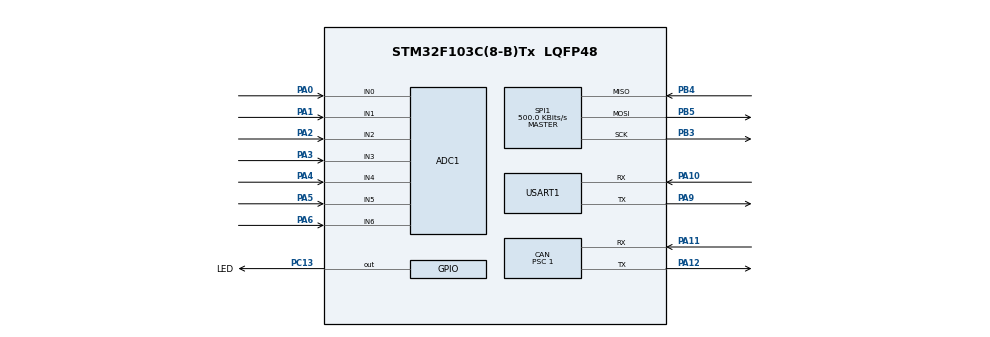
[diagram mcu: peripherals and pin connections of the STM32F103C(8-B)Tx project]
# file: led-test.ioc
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ADC1.Channel-2\#ChannelRegularConversion=ADC_CHANNEL_0
ADC1.Channel-3\#ChannelRegularConversion=ADC_CHANNEL_1
ADC1.Channel-4\#ChannelRegularConversion=ADC_CHANNEL_2
ADC1.Channel-5\#ChannelRegularConversion=ADC_CHANNEL_3
ADC1.Channel-6\#ChannelRegularConversion=ADC_CHANNEL_4
ADC1.Channel-7\#ChannelRegularConversion=ADC_CHANNEL_5
ADC1.Channel-8\#ChannelRegularConversion=ADC_CHANNEL_6
ADC1.NbrOfConversion=7
ADC1.NbrOfConversionFlag=1
ADC1.Rank-2\#ChannelRegularConversion=1
ADC1.Rank-3\#ChannelRegularConversion=2
ADC1.Rank-4\#ChannelRegularConversion=3
ADC1.Rank-5\#ChannelRegularConversion=4
ADC1.Rank-6\#ChannelRegularConversion=5
ADC1.Rank-7\#ChannelRegularConversion=6
ADC1.Rank-8\#ChannelRegularConversion=7
ADC1.SamplingTime-2\#ChannelRegularConversion=ADC_SAMPLETIME_55CYCLES_5
ADC1.SamplingTime-3\#ChannelRegularConversion=ADC_SAMPLETIME_55CYCLES_5
ADC1.SamplingTime-4\#ChannelRegularConversion=ADC_SAMPLETIME_55CYCLES_5
ADC1.SamplingTime-5\#ChannelRegularConversion=ADC_SAMPLETIME_55CYCLES_5
ADC1.SamplingTime-6\#ChannelRegularConversion=ADC_SAMPLETIME_55CYCLES_5
ADC1.SamplingTime-7\#ChannelRegularConversion=ADC_SAMPLETIME_55CYCLES_5
ADC1.SamplingTime-8\#ChannelRegularConversion=ADC_SAMPLETIME_55CYCLES_5
ADC1.master=1
CAN.ABOM=ENABLE
CAN.BS1=CAN_BS1_13TQ
CAN.BS2=CAN_BS2_2TQ
CAN.CalculateBaudRate=500000
CAN.CalculateTimeBit=2000
CAN.CalculateTimeQuantum=125.0
CAN.Mode=CAN_MODE_NORMAL
CAN.NART=ENABLE
CAN.Prescaler=1
Dma.ADC1.0.Direction=DMA_PERIPH_TO_MEMORY
Dma.ADC1.0.Instance=DMA1_Channel1
Dma.ADC1.0.MemDataAlignment=DMA_MDATAALIGN_HALFWORD
Dma.ADC1.0.MemInc=DMA_MINC_ENABLE
Dma.ADC1.0.Mode=DMA_NORMAL
Dma.ADC1.0.PeriphDataAlignment=DMA_PDATAALIGN_HALFWORD
Dma.ADC1.0.PeriphInc=DMA_PINC_DISABLE
Dma.ADC1.0.Priority=DMA_PRIORITY_LOW
Dma.Request0=ADC1
Dma.Request1=USART1_TX
Dma.Request2=USART1_RX
Dma.Request3=SPI1_RX
Dma.Request4=SPI1_TX
Dma.SPI1_RX.3.Direction=DMA_PERIPH_TO_MEMORY
Dma.SPI1_RX.3.Instance=DMA1_Channel2
Dma.SPI1_RX.3.MemDataAlignment=DMA_MDATAALIGN_BYTE
Dma.SPI1_RX.3.MemInc=DMA_MINC_ENABLE
Dma.SPI1_RX.3.Mode=DMA_NORMAL
Dma.SPI1_RX.3.PeriphDataAlignment=DMA_PDATAALIGN_BYTE
Dma.SPI1_RX.3.PeriphInc=DMA_PINC_DISABLE
Dma.SPI1_RX.3.Priority=DMA_PRIORITY_LOW
Dma.SPI1_TX.4.Direction=DMA_MEMORY_TO_PERIPH
Dma.SPI1_TX.4.Instance=DMA1_Channel3
Dma.SPI1_TX.4.MemDataAlignment=DMA_MDATAALIGN_BYTE
Dma.SPI1_TX.4.MemInc=DMA_MINC_ENABLE
Dma.SPI1_TX.4.Mode=DMA_NORMAL
Dma.SPI1_TX.4.PeriphDataAlignment=DMA_PDATAALIGN_BYTE
Dma.SPI1_TX.4.PeriphInc=DMA_PINC_DISABLE
Dma.SPI1_TX.4.Priority=DMA_PRIORITY_LOW
Dma.USART1_RX.2.Direction=DMA_PERIPH_TO_MEMORY
Dma.USART1_RX.2.Instance=DMA1_Channel5
Dma.USART1_RX.2.MemDataAlignment=DMA_MDATAALIGN_BYTE
Dma.USART1_RX.2.MemInc=DMA_MINC_ENABLE
Dma.USART1_RX.2.Mode=DMA_NORMAL
Dma.USART1_RX.2.PeriphDataAlignment=DMA_PDATAALIGN_BYTE
Dma.USART1_RX.2.PeriphInc=DMA_PINC_DISABLE
Dma.USART1_RX.2.Priority=DMA_PRIORITY_LOW
Dma.USART1_TX.1.Direction=DMA_MEMORY_TO_PERIPH
Dma.USART1_TX.1.Instance=DMA1_Channel4
Dma.USART1_TX.1.MemDataAlignment=DMA_MDATAALIGN_BYTE
Dma.USART1_TX.1.MemInc=DMA_MINC_ENABLE
Dma.USART1_TX.1.Mode=DMA_NORMAL
Dma.USART1_TX.1.PeriphDataAlignment=DMA_PDATAALIGN_BYTE
Dma.USART1_TX.1.PeriphInc=DMA_PINC_DISABLE
Dma.USART1_TX.1.Priority=DMA_PRIORITY_LOW
Mcu.Family=STM32F1
Mcu.Name=STM32F103C(8-B)Tx
Mcu.Package=LQFP48
NVIC.CAN1_SCE_IRQn=true\:0\:0\:false\:false\:true\:true\:true\:true
NVIC.DMA1_Channel1_IRQn=true\:0\:0\:false\:false\:true\:false\:true\:true
NVIC.DMA1_Channel2_IRQn=true\:0\:0\:false\:false\:true\:false\:true\:true
NVIC.DMA1_Channel3_IRQn=true\:0\:0\:false\:false\:true\:false\:true\:true
NVIC.DMA1_Channel4_IRQn=true\:0\:0\:false\:false\:true\:false\:true\:true
NVIC.DMA1_Channel5_IRQn=true\:0\:0\:false\:false\:true\:false\:true\:true
NVIC.PriorityGroup=NVIC_PRIORITYGROUP_4
NVIC.TIM2_IRQn=true\:0\:0\:false\:false\:true\:true\:true\:true
NVIC.USART1_IRQn=true\:0\:0\:false\:false\:true\:true\:true\:true
NVIC.USB_HP_CAN1_TX_IRQn=true\:0\:0\:false\:false\:true\:true\:true\:true
NVIC.USB_LP_CAN1_RX0_IRQn=true\:0\:0\:false\:false\:true\:true\:true\:true
PA0-WKUP.Signal=ADCx_IN0
PA1.Signal=ADCx_IN1
PA10.Mode=Asynchronous
PA10.Signal=USART1_RX
PA11.Mode=CAN_Activate
PA11.Signal=CAN_RX
PA12.Mode=CAN_Activate
PA12.Signal=CAN_TX
PA13.Mode=Serial_Wire
PA13.Signal=SYS_JTMS-SWDIO
PA14.Mode=Serial_Wire
PA14.Signal=SYS_JTCK-SWCLK
PA2.Signal=ADCx_IN2
PA3.Signal=ADCx_IN3
PA4.Signal=ADCx_IN4
PA5.Signal=ADCx_IN5
PA6.Signal=ADCx_IN6
PA9.Mode=Asynchronous
PA9.Signal=USART1_TX
PB3.Mode=Full_Duplex_Master
PB3.Signal=SPI1_SCK
PB4.Mode=Full_Duplex_Master
PB4.Signal=SPI1_MISO
PB5.Mode=Full_Duplex_Master
PB5.Signal=SPI1_MOSI
PC13-TAMPER-RTC.GPIO_Label=LED
PC13-TAMPER-RTC.PinState=GPIO_PIN_SET
PC13-TAMPER-RTC.Signal=GPIO_Output
PD0-OSC_IN.Mode=HSE-External-Oscillator
PD0-OSC_IN.Signal=RCC_OSC_IN
PD1-OSC_OUT.Mode=HSE-External-Oscillator
PD1-OSC_OUT.Signal=RCC_OSC_OUT
ProjectManager.HeapSize=0x200
ProjectManager.StackSize=0x400
ProjectManager.TargetToolchain=Makefile
RCC.APB1Freq_Value=8000000
RCC.APB2Freq_Value=8000000
RCC.EnbaleCSS=true
RCC.SYSCLKSource=RCC_SYSCLKSOURCE_HSE
SH.ADCx_IN0.0=ADC1_IN0,IN0
SH.ADCx_IN1.0=ADC1_IN1,IN1
SH.ADCx_IN2.0=ADC1_IN2,IN2
SH.ADCx_IN3.0=ADC1_IN3,IN3
SH.ADCx_IN4.0=ADC1_IN4,IN4
SH.ADCx_IN5.0=ADC1_IN5,IN5
SH.ADCx_IN6.0=ADC1_IN6,IN6
SPI1.BaudRatePrescaler=SPI_BAUDRATEPRESCALER_16
SPI1.CalculateBaudRate=500.0 KBits/s
SPI1.Direction=SPI_DIRECTION_2LINES
SPI1.Mode=SPI_MODE_MASTER
SPI1.VirtualType=VM_MASTER
TIM2.ClockDivision=TIM_CLOCKDIVISION_DIV1
TIM2.Period=9
TIM2.Prescaler=799
USART1.VirtualMode=VM_ASYNC
VP_TIM2_VS_ClockSourceINT.Mode=Internal
board=custom

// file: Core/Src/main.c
/* USER CODE BEGIN Header */
/**
 ******************************************************************************
 * @file           : main.c
 * @brief          : Main program body
 ******************************************************************************
 * @attention
 *
 * Copyright (c) 2026 STMicroelectronics.
 * All rights reserved.
 *
 * This software is licensed under terms that can be found in the LICENSE file
 * in the root directory of this software component.
 * If no LICENSE file comes with this software, it is provided AS-IS.
 *
 ******************************************************************************
 */
/* USER CODE END Header */
#include "main.h"
#include "adc.h"
#include "can.h"
#include "dma.h"
#include "spi.h"
#include "tim.h"
#include "usart.h"
#include "gpio.h"

/* USER CODE BEGIN Includes */
#include "bms_protection.h"
#include "bms_injection.h"
#include "bms_types.h"
#include "can_if.h"
#include "can_protocol.h"
#include "spi_if.h"
#include "uart_protocol.h"
#include <stdio.h>
#include <string.h>

/* USER CODE END Includes */

/* USER CODE BEGIN PD */
#define BMS_ADC_VREF_MV      3300U
#define BMS_ADC_MAX_COUNTS   4095U
#define UART_LOG_BUFFER_SIZE 640U
#define UART_RX_BUFFER_SIZE  64U
#define SPI_LOOPBACK_SIZE     4U
#define CAN_START_DELAY_MS    5000U
#define CAN_PEER_TIMEOUT_MS   1000U
#define CAN_RX_DRAIN_BUDGET   64U

/* USER CODE END PD */

/* USER CODE BEGIN PV */
volatile uint32_t g_system_ms = 0;
uint32_t last_10ms = 0;
uint32_t last_100ms = 0;
uint32_t last_1000ms = 0;
uint32_t count_10ms = 0;
uint32_t count_100ms = 0;
static uint16_t g_adc_dma_buffer[BMS_ADC_CHANNEL_COUNT] = {0};
static uint16_t g_adc_filter_samples[BMS_ADC_FILTER_LENGTH]
                                      [BMS_ADC_CHANNEL_COUNT] = {0};
static uint32_t g_adc_filter_sum[BMS_ADC_CHANNEL_COUNT] = {0};
static uint8_t g_adc_filter_index = 0U;
static uint8_t g_adc_filter_count = 0U;
static volatile uint8_t g_adc_busy = 0U;
static volatile uint8_t g_adc_frame_ready = 0U;
static volatile uint8_t g_adc_error_pending = 0U;
static uint32_t g_adc_frame_count = 0U;
static uint32_t g_adc_error_count = 0U;
static uint8_t g_uart_log_buffer[UART_LOG_BUFFER_SIZE] = {0};
static volatile uint8_t g_uart_tx_busy = 0U;
static uint32_t g_uart_tx_count = 0U;
static uint32_t g_uart_tx_drop_count = 0U;
static uint8_t g_uart_rx_dma_buffer[UART_RX_BUFFER_SIZE] = {0};
static uint8_t g_uart_rx_frame[UART_RX_BUFFER_SIZE] = {0};
static volatile uint16_t g_uart_rx_length = 0U;
static volatile uint8_t g_uart_rx_frame_ready = 0U;
static volatile uint8_t g_uart_rx_restart_pending = 0U;
static uint32_t g_uart_rx_count = 0U;
static volatile uint32_t g_uart_rx_drop_count = 0U;
static volatile uint32_t g_uart_error_count = 0U;
static uint32_t g_uart_crc_error_count = 0U;
static uint32_t g_uart_protocol_error_count = 0U;
static const uint8_t g_spi_tx_buffer[SPI_LOOPBACK_SIZE] = {
  0x12U, 0x34U, 0xA5U, 0x5AU
};
static uint8_t g_spi_rx_buffer[SPI_LOOPBACK_SIZE] = {0};
static uint8_t g_spi_last_rx_buffer[SPI_LOOPBACK_SIZE] = {0};
static uint8_t g_spi_last_ok = 0U;
static uint32_t g_spi_transfer_count = 0U;
static uint32_t g_spi_mismatch_count = 0U;
static uint32_t g_spi_error_count = 0U;
static const uint8_t g_can_expected_rx_data[CAN_PROTOCOL_DLC] = {
  0xA5U, 0x5AU, 0x12U, 0x34U, 0x04U, 0x03U, 0x02U, 0x01U
};
static uint8_t g_can_last_rx_data[CAN_PROTOCOL_DLC] = {0};
static uint16_t g_can_last_rx_id = 0U;
static uint32_t g_can_tx_queued_count = 0U;
static uint32_t g_can_rx_count = 0U;
static uint32_t g_can_mismatch_count = 0U;
static uint32_t g_can_send_error_count = 0U;
static uint32_t g_can_last_valid_rx_ms = 0U;
static uint32_t g_can_peer_timeout_count = 0U;
static uint8_t g_can_peer_online = 0U;
static uint8_t g_can_heartbeat_sequence = 0U;
static BmsData g_bms_data = {0};
static BmsData g_bms_effective_data = {0};
static BmsInjection g_bms_injection = {0};
static uint8_t g_bms_sim_active = 0U;
static BmsConfig g_bms_config = {0};
static BmsFault g_bms_fault = {0};
static BmsProtection g_bms_protection = {0};
/* USER CODE END PV */

void SystemClock_Config(void);
/* USER CODE BEGIN PFP */
static void Task_10ms(void);
static void Task_100ms(void);
static void Task_1000ms(void);
static uint16_t AdcRawToMillivolts(uint16_t raw);
static void ProcessAdcFrame(void);
static uint8_t StartAdcFrame(void);
static uint8_t StartUartLog(uint16_t length);
static uint8_t StartUartRx(void);
static void ProcessUartRx(void);
static uint8_t StartSpiLoopbackDma(void);
static void ProcessSpiLoopbackResult(void);
static void SendCanStatus(void);
static void SendCanHeartbeat(void);
static uint8_t ProcessCanNormalResult(void);

/* USER CODE END PFP */

int main(void)
{

  /* MCU Configuration--------------------------------------------------------*/

  /* Reset of all peripherals, Initializes the Flash interface and the Systick. */
  HAL_Init();

  /* Configure the system clock */
  SystemClock_Config();

  /* Initialize all configured peripherals */
  MX_GPIO_Init();
  MX_DMA_Init();
  MX_TIM2_Init();
  MX_USART1_UART_Init();
  MX_ADC1_Init();
  MX_SPI1_Init();
  MX_CAN_Init();
  /* USER CODE BEGIN 2 */
  if (HAL_ADCEx_Calibration_Start(&hadc1) != HAL_OK) {
    Error_Handler();
  }

  if (HAL_TIM_Base_Start_IT(&htim2) != HAL_OK) {
    Error_Handler();
  }

  /* Teaching thresholds for a safe 0-3.3 V virtual cell input on PA0.
   * These values are not real lithium-cell protection parameters. */
  g_bms_config.monitored_cell_count = 1U;
  g_bms_config.over_voltage_mv = 3000U;
  g_bms_config.under_voltage_mv = 300U;
  g_bms_config.voltage_hysteresis_mv = 100U;
  g_bms_config.fault_confirm_ms = 300U;
  g_bms_config.recovery_ms = 500U;
  BmsProtection_Init(&g_bms_protection, &g_bms_fault);
  BmsInjection_Init(&g_bms_injection);
  SpiIf_Init(&hspi1);

  if (CanIf_Init(&hcan) == 0U) {
    Error_Handler();
  }

  if (StartUartRx() == 0U) {
    Error_Handler();
  }

  if (StartSpiLoopbackDma() == 0U) {
    Error_Handler();
  }
  /* USER CODE END 2 */

  /* Infinite loop */
  while (1)
  {

    /* USER CODE BEGIN 3 */
    uint32_t now = g_system_ms;

    if ((uint32_t)(now - last_10ms) >= 10U) {
      last_10ms += 10U;
      Task_10ms();
    }

    if ((uint32_t)(now - last_100ms) >= 100U) {
      last_100ms += 100U;
      Task_100ms();
    }

    if ((uint32_t)(now - last_1000ms) >= 1000U) {
      last_1000ms += 1000U;
      Task_1000ms();
    }
  }
  /* USER CODE END 3 */
}

void SystemClock_Config(void)
{
  RCC_OscInitTypeDef RCC_OscInitStruct = {0};
  RCC_ClkInitTypeDef RCC_ClkInitStruct = {0};
  RCC_PeriphCLKInitTypeDef PeriphClkInit = {0};

  /** Initializes the RCC Oscillators according to the specified parameters
  * in the RCC_OscInitTypeDef structure.
  */
  RCC_OscInitStruct.OscillatorType = RCC_OSCILLATORTYPE_HSE;
  RCC_OscInitStruct.HSEState = RCC_HSE_ON;
  RCC_OscInitStruct.PLL.PLLState = RCC_PLL_NONE;
  if (HAL_RCC_OscConfig(&RCC_OscInitStruct) != HAL_OK)
  {
    Error_Handler();
  }

  /** Initializes the CPU, AHB and APB buses clocks
  */
  RCC_ClkInitStruct.ClockType = RCC_CLOCKTYPE_HCLK|RCC_CLOCKTYPE_SYSCLK
                              |RCC_CLOCKTYPE_PCLK1|RCC_CLOCKTYPE_PCLK2;
  RCC_ClkInitStruct.SYSCLKSource = RCC_SYSCLKSOURCE_HSE;
  RCC_ClkInitStruct.AHBCLKDivider = RCC_SYSCLK_DIV1;
  RCC_ClkInitStruct.APB1CLKDivider = RCC_HCLK_DIV1;
  RCC_ClkInitStruct.APB2CLKDivider = RCC_HCLK_DIV1;

  if (HAL_RCC_ClockConfig(&RCC_ClkInitStruct, FLASH_LATENCY_0) != HAL_OK)
  {
    Error_Handler();
  }
  PeriphClkInit.PeriphClockSelection = RCC_PERIPHCLK_ADC;
  PeriphClkInit.AdcClockSelection = RCC_ADCPCLK2_DIV2;
  if (HAL_RCCEx_PeriphCLKConfig(&PeriphClkInit) != HAL_OK)
  {
    Error_Handler();
  }

  /** Enables the Clock Security System
  */
  HAL_RCC_EnableCSS();
}

/* USER CODE BEGIN 4 */
static void Task_10ms(void)
{
  uint8_t adc_can_start = 1U;
  uint8_t can_drained = 0U;

  count_10ms++;

  if (g_uart_rx_restart_pending != 0U) {
    if (StartUartRx() != 0U) {
      g_uart_rx_restart_pending = 0U;
    }
  }

  ProcessUartRx();
  ProcessSpiLoopbackResult();
  while ((can_drained < CAN_RX_DRAIN_BUDGET)
         && (ProcessCanNormalResult() != 0U)) {
    can_drained++;
  }

  if (g_adc_error_pending != 0U) {
    g_adc_error_pending = 0U;
    g_bms_data.valid = 0U;

    if (HAL_ADC_Stop_DMA(&hadc1) != HAL_OK) {
      g_adc_error_count++;
      adc_can_start = 0U;
    }
  }

  if (g_adc_frame_ready != 0U) {
    g_adc_frame_ready = 0U;
    __DMB();

    if (HAL_ADC_Stop_DMA(&hadc1) == HAL_OK) {
      ProcessAdcFrame();
      g_adc_frame_count++;
    } else {
      g_adc_error_count++;
      g_bms_data.valid = 0U;
      adc_can_start = 0U;
    }
  }

  if ((g_adc_busy == 0U) && (adc_can_start != 0U)) {
    if (StartAdcFrame() == 0U) {
      g_adc_error_count++;
      g_bms_data.valid = 0U;
    }
  }
}

static void Task_100ms(void)
{
  count_100ms++;
  CanIf_Service();
  g_bms_sim_active = BmsInjection_Apply(&g_bms_injection,
                                         &g_bms_data,
                                         g_system_ms,
                                         &g_bms_effective_data);
  BmsProtection_Update(&g_bms_protection,
                       &g_bms_effective_data,
                       &g_bms_config,
                       &g_bms_fault,
                       100U);

  if ((g_can_peer_online != 0U)
      && (CanProtocol_IsPeerFrameFresh(HAL_GetTick(),
                                       g_can_last_valid_rx_ms,
                                       CAN_PEER_TIMEOUT_MS) == 0U)) {
    g_can_peer_online = 0U;
    g_can_peer_timeout_count++;
  }

  if (g_system_ms >= CAN_START_DELAY_MS) {
    SendCanStatus();
  }
}

static void Task_1000ms(void)
{
  int length;

  HAL_GPIO_TogglePin(LED_GPIO_Port, LED_Pin);

  if (StartSpiLoopbackDma() == 0U) {
    g_spi_error_count++;
  }

  if (g_system_ms >= CAN_START_DELAY_MS) {
    SendCanHeartbeat();
  }

  if (g_uart_tx_busy != 0U) {
    g_uart_tx_drop_count++;
    return;
  }

  length = snprintf((char *)g_uart_log_buffer,
                    sizeof(g_uart_log_buffer),
                    "t=%lu,valid=%u,adc_busy=%u,frames=%lu,adc_err=%lu,fn=%u,cell0=%u,adc_cell0=%u,sim=%u,raw0=%u,avg0=%u,fault=0x%08lx,code=%u,latch=%u,pstate=%u,tx=%lu,tx_drop=%lu,rx=%lu,rx_drop=%lu,uart_err=%lu,crc_err=%lu,proto_err=%lu,spi_busy=%u,spi_ok=%u,spi_n=%lu,spi_mis=%lu,spi_err=%lu,spi_rx=%02X%02X%02X%02X,can_q=%lu,can_tx=%lu,can_rx=%lu,can_mis=%lu,can_err=%lu,can_fault=%u,can_le=0x%08lX,can_drop=%lu,can_drop_t=%lu,can_seen=%lu,can_buf=%u,can_peak=%u,can_hwov=%lu,can_rec=%lu,can_rf=%lu,can_peer=%u,can_to=%lu,can_id=%03X,can_data=%02X%02X%02X%02X%02X%02X%02X%02X\r\n",
                    (unsigned long)g_system_ms,
                    (unsigned int)g_bms_effective_data.valid,
                    (unsigned int)g_adc_busy,
                    (unsigned long)g_adc_frame_count,
                    (unsigned long)g_adc_error_count,
                    (unsigned int)g_adc_filter_count,
                    (unsigned int)g_bms_effective_data.cell_voltage_mv[0],
                    (unsigned int)g_bms_data.cell_voltage_mv[0],
                    (unsigned int)g_bms_sim_active,
                    (unsigned int)g_bms_data.adc_raw[0],
                    (unsigned int)g_bms_data.adc_filtered[0],
                    (unsigned long)g_bms_fault.flags,
                    (unsigned int)g_bms_fault.active_code,
                    (unsigned int)g_bms_fault.latched,
                    (unsigned int)g_bms_protection.state,
                    (unsigned long)g_uart_tx_count,
                    (unsigned long)g_uart_tx_drop_count,
                    (unsigned long)g_uart_rx_count,
                    (unsigned long)g_uart_rx_drop_count,
                    (unsigned long)g_uart_error_count,
                    (unsigned long)g_uart_crc_error_count,
                    (unsigned long)g_uart_protocol_error_count,
                    (unsigned int)SpiIf_IsBusy(),
                    (unsigned int)g_spi_last_ok,
                    (unsigned long)g_spi_transfer_count,
                    (unsigned long)g_spi_mismatch_count,
                    (unsigned long)g_spi_error_count,
                    (unsigned int)g_spi_last_rx_buffer[0],
                    (unsigned int)g_spi_last_rx_buffer[1],
                    (unsigned int)g_spi_last_rx_buffer[2],
                    (unsigned int)g_spi_last_rx_buffer[3],
                    (unsigned long)g_can_tx_queued_count,
                    (unsigned long)CanIf_GetTxCompleteCount(),
                    (unsigned long)g_can_rx_count,
                    (unsigned long)g_can_mismatch_count,
                    (unsigned long)(g_can_send_error_count
                                    + CanIf_GetErrorCount()),
                    (unsigned int)CanIf_IsFaulted(),
                    (unsigned long)CanIf_GetLastError(),
                    (unsigned long)CanIf_GetRxDropCount(),
                    (unsigned long)CanIf_GetRxLastDropMs(),
                    (unsigned long)CanIf_GetRxSeenCount(),
                    (unsigned int)CanIf_GetRxQueueDepth(),
                    (unsigned int)CanIf_GetRxQueuePeak(),
                    (unsigned long)CanIf_GetRxHwOverrunCount(),
                    (unsigned long)CanIf_GetRecoveryCount(),
                    (unsigned long)CanIf_GetRecoveryFailCount(),
                    (unsigned int)g_can_peer_online,
                    (unsigned long)g_can_peer_timeout_count,
                    (unsigned int)g_can_last_rx_id,
                    (unsigned int)g_can_last_rx_data[0],
                    (unsigned int)g_can_last_rx_data[1],
                    (unsigned int)g_can_last_rx_data[2],
                    (unsigned int)g_can_last_rx_data[3],
                    (unsigned int)g_can_last_rx_data[4],
                    (unsigned int)g_can_last_rx_data[5],
                    (unsigned int)g_can_last_rx_data[6],
                    (unsigned int)g_can_last_rx_data[7]);

  if ((length <= 0)
      || (length >= (int)sizeof(g_uart_log_buffer))) {
    g_uart_tx_drop_count++;
    return;
  }

  if (StartUartLog((uint16_t)length) == 0U) {
    g_uart_tx_drop_count++;
  }
}

static uint8_t StartUartLog(uint16_t length)
{
  if ((g_uart_tx_busy != 0U) || (length == 0U)) {
    return 0U;
  }

  g_uart_tx_busy = 1U;
  if (HAL_UART_Transmit_DMA(&huart1, g_uart_log_buffer, length) != HAL_OK) {
    g_uart_tx_busy = 0U;
    return 0U;
  }

  g_uart_tx_count++;
  return 1U;
}

static uint8_t StartSpiLoopbackDma(void)
{
  return SpiIf_StartTransfer((uint8_t *)g_spi_tx_buffer,
                             g_spi_rx_buffer,
                             SPI_LOOPBACK_SIZE);
}

static void ProcessSpiLoopbackResult(void)
{
  if (SpiIf_TakeError() != 0U) {
    g_spi_last_ok = 0U;
    g_spi_error_count++;
  }

  if (SpiIf_TakeComplete() == 0U) {
    return;
  }

  g_spi_transfer_count++;
  memcpy(g_spi_last_rx_buffer,
         g_spi_rx_buffer,
         SPI_LOOPBACK_SIZE);

  if (memcmp(g_spi_tx_buffer,
             g_spi_last_rx_buffer,
             SPI_LOOPBACK_SIZE) != 0) {
    g_spi_last_ok = 0U;
    g_spi_mismatch_count++;
    return;
  }

  g_spi_last_ok = 1U;
}

static void SendCanStatus(void)
{
  uint8_t frame[CAN_PROTOCOL_DLC];

  if (CanIf_IsFaulted() != 0U) {
    return;
  }

  CanProtocol_EncodeStatus(g_bms_effective_data.cell_voltage_mv[0],
                           g_bms_fault.flags,
                           g_bms_effective_data.valid,
                           (uint8_t)g_bms_fault.active_code,
                           g_bms_sim_active,
                           frame);

  if (CanIf_SendStandard(CAN_PROTOCOL_STATUS_ID,
                         frame,
                         CAN_PROTOCOL_DLC) != 0U) {
    g_can_tx_queued_count++;
  } else {
    g_can_send_error_count++;
  }
}

static void SendCanHeartbeat(void)
{
  uint8_t frame[CAN_PROTOCOL_DLC];

  if (CanIf_IsFaulted() != 0U) {
    return;
  }

  CanProtocol_EncodeHeartbeat(g_system_ms / 1000U,
                              g_can_heartbeat_sequence,
                              (uint8_t)g_bms_protection.state,
                              g_bms_fault.latched,
                              g_can_peer_online,
                              frame);

  if (CanIf_SendStandard(CAN_PROTOCOL_HEARTBEAT_ID,
                         frame,
                         CAN_PROTOCOL_DLC) != 0U) {
    g_can_tx_queued_count++;
    g_can_heartbeat_sequence++;
  } else {
    g_can_send_error_count++;
  }
}

static uint8_t ProcessCanNormalResult(void)
{
  CanIfFrame frame;

  if (CanIf_TakeRxFrame(&frame) == 0U) {
    return 0U;
  }

  g_can_rx_count++;
  g_can_last_rx_id = frame.standard_id;
  memcpy(g_can_last_rx_data, frame.data, CAN_PROTOCOL_DLC);

  if ((frame.standard_id != CAN_PROTOCOL_COMMAND_ID)
      || (frame.dlc != CAN_PROTOCOL_DLC)
      || (memcmp(frame.data,
                 g_can_expected_rx_data,
                 CAN_PROTOCOL_DLC) != 0)) {
    g_can_mismatch_count++;
    return 1U;
  }

  g_can_last_valid_rx_ms = frame.received_at_ms;
  g_can_peer_online = CanProtocol_IsPeerFrameFresh(HAL_GetTick(),
                                                   frame.received_at_ms,
                                                   CAN_PEER_TIMEOUT_MS);
  return 1U;
}

static uint8_t StartUartRx(void)
{
  if (HAL_UARTEx_ReceiveToIdle_DMA(&huart1,
                                   g_uart_rx_dma_buffer,
                                   UART_RX_BUFFER_SIZE) != HAL_OK) {
    return 0U;
  }

  /* A half-transfer event does not end a frame in Normal DMA mode. */
  __HAL_DMA_DISABLE_IT(huart1.hdmarx, DMA_IT_HT);
  return 1U;
}

static void ProcessUartRx(void)
{
  UartProtocolFrame frame;
  UartProtocolResult result;
  int response_length;
  uint16_t requested_mv;

  if ((g_uart_rx_frame_ready == 0U) || (g_uart_tx_busy != 0U)) {
    return;
  }

  __DMB();
  result = UartProtocol_Parse(g_uart_rx_frame,
                              g_uart_rx_length,
                              &frame);
  if ((result == UART_PROTOCOL_OK)
      && (frame.command == UART_PROTOCOL_CMD_PING)
      && (frame.payload_length == 0U)) {
    response_length = snprintf((char *)g_uart_log_buffer,
                                sizeof(g_uart_log_buffer),
                                "ACK PING CRC=OK\r\n");
  } else if ((result == UART_PROTOCOL_OK)
             && (frame.command == UART_PROTOCOL_CMD_SIM_CELL0)) {
    if (frame.payload_length != 2U) {
      g_uart_protocol_error_count++;
      response_length = snprintf((char *)g_uart_log_buffer,
                                  sizeof(g_uart_log_buffer),
                                  "ERR SIM LEN\r\n");
    } else {
      requested_mv = (uint16_t)frame.payload[0]
                     | ((uint16_t)frame.payload[1] << 8U);
      if (BmsInjection_Set(&g_bms_injection,
                           requested_mv,
                           g_system_ms) == 0U) {
        g_uart_protocol_error_count++;
        response_length = snprintf((char *)g_uart_log_buffer,
                                    sizeof(g_uart_log_buffer),
                                    "ERR SIM RANGE\r\n");
      } else {
        response_length = snprintf((char *)g_uart_log_buffer,
                                    sizeof(g_uart_log_buffer),
                                    "ACK SIM %u mV\r\n",
                                    (unsigned int)requested_mv);
      }
    }
  } else if ((result == UART_PROTOCOL_OK)
             && (frame.command == UART_PROTOCOL_CMD_SIM_CLEAR)) {
    if (frame.payload_length != 0U) {
      g_uart_protocol_error_count++;
      response_length = snprintf((char *)g_uart_log_buffer,
                                  sizeof(g_uart_log_buffer),
                                  "ERR SIM LEN\r\n");
    } else {
      BmsInjection_Clear(&g_bms_injection);
      response_length = snprintf((char *)g_uart_log_buffer,
                                  sizeof(g_uart_log_buffer),
                                  "ACK SIM CLEAR\r\n");
    }
  } else if (result == UART_PROTOCOL_ERROR_CRC) {
    g_uart_crc_error_count++;
    response_length = snprintf((char *)g_uart_log_buffer,
                               sizeof(g_uart_log_buffer),
                               "ERR CRC\r\n");
  } else if (result != UART_PROTOCOL_OK) {
    g_uart_protocol_error_count++;
    response_length = snprintf((char *)g_uart_log_buffer,
                               sizeof(g_uart_log_buffer),
                               "ERR FRAME code=%u\r\n",
                               (unsigned int)result);
  } else {
    response_length = snprintf((char *)g_uart_log_buffer,
                               sizeof(g_uart_log_buffer),
                               "ERR CMD 0x%02X\r\n",
                               (unsigned int)frame.command);
  }

  if ((response_length > 0)
      && (response_length < (int)sizeof(g_uart_log_buffer))
      && (StartUartLog((uint16_t)response_length) != 0U)) {
    g_uart_rx_count++;
    g_uart_rx_frame_ready = 0U;
  }
}

static uint16_t AdcRawToMillivolts(uint16_t raw)
{
  return (uint16_t)(((uint32_t)raw * BMS_ADC_VREF_MV
                     + (BMS_ADC_MAX_COUNTS / 2U))
                    / BMS_ADC_MAX_COUNTS);
}

static void ProcessAdcFrame(void)
{
  uint8_t i;
  uint32_t filter_count;

  if (g_adc_filter_count >= BMS_ADC_FILTER_LENGTH) {
    for (i = 0U; i < BMS_ADC_CHANNEL_COUNT; i++) {
      g_adc_filter_sum[i] -= g_adc_filter_samples[g_adc_filter_index][i];
    }
  } else {
    g_adc_filter_count++;
  }

  for (i = 0U; i < BMS_ADC_CHANNEL_COUNT; i++) {
    g_bms_data.adc_raw[i] = g_adc_dma_buffer[i];
    g_adc_filter_samples[g_adc_filter_index][i] = g_adc_dma_buffer[i];
    g_adc_filter_sum[i] += g_adc_dma_buffer[i];
  }

  g_adc_filter_index++;
  if (g_adc_filter_index >= BMS_ADC_FILTER_LENGTH) {
    g_adc_filter_index = 0U;
  }

  filter_count = g_adc_filter_count;
  for (i = 0U; i < BMS_ADC_CHANNEL_COUNT; i++) {
    g_bms_data.adc_filtered[i] =
        (uint16_t)(g_adc_filter_sum[i] / filter_count);
  }

  for (i = 0U; i < BMS_CELL_COUNT; i++) {
    g_bms_data.cell_voltage_mv[i] =
        AdcRawToMillivolts(g_bms_data.adc_filtered[i]);
  }

  /* Current and temperature transfer functions depend on the actual
   * sensor/front-end circuit and are intentionally not guessed here. */
  g_bms_data.pack_current_ma = 0;
  g_bms_data.temperature_cdeg[0] = 0;
  g_bms_data.temperature_cdeg[1] = 0;
  g_bms_data.timestamp_ms = g_system_ms;
  g_bms_data.valid = 1U;
  g_bms_data.sensor_calibrated = 0U;
}

static uint8_t StartAdcFrame(void)
{
  g_adc_busy = 1U;

  if (HAL_ADC_Start_DMA(&hadc1,
                        (uint32_t *)g_adc_dma_buffer,
                        BMS_ADC_CHANNEL_COUNT) != HAL_OK) {
    g_adc_busy = 0U;
    return 0U;
  }

  return 1U;
}

void HAL_ADC_ConvCpltCallback(ADC_HandleTypeDef *hadc)
{
  if (hadc->Instance == ADC1) {
    g_adc_busy = 0U;
    __DMB();
    g_adc_frame_ready = 1U;
  }
}

void HAL_ADC_ErrorCallback(ADC_HandleTypeDef *hadc)
{
  if (hadc->Instance == ADC1) {
    g_adc_busy = 0U;
    g_adc_error_pending = 1U;
  }
}

void HAL_UART_TxCpltCallback(UART_HandleTypeDef *huart)
{
  if (huart->Instance == USART1) {
    g_uart_tx_busy = 0U;
  }
}

void HAL_UARTEx_RxEventCallback(UART_HandleTypeDef *huart, uint16_t size)
{
  if (huart->Instance == USART1) {
    if ((size > 0U) && (size <= UART_RX_BUFFER_SIZE)) {
      if (g_uart_rx_frame_ready == 0U) {
        memcpy(g_uart_rx_frame, g_uart_rx_dma_buffer, size);
        g_uart_rx_length = size;
        __DMB();
        g_uart_rx_frame_ready = 1U;
      } else {
        g_uart_rx_drop_count++;
      }
    }

    if (StartUartRx() == 0U) {
      g_uart_rx_restart_pending = 1U;
    }
  }
}

void HAL_UART_ErrorCallback(UART_HandleTypeDef *huart)
{
  if (huart->Instance == USART1) {
    g_uart_error_count++;

    if (huart->gState == HAL_UART_STATE_READY) {
      g_uart_tx_busy = 0U;
    }
    if (huart->RxState == HAL_UART_STATE_READY) {
      g_uart_rx_restart_pending = 1U;
    }
  }
}

void HAL_TIM_PeriodElapsedCallback(TIM_HandleTypeDef *htim)
{
  if (htim->Instance == TIM2)
  {
    g_system_ms++;
  }
}
/* USER CODE END 4 */

void Error_Handler(void)
{
  __disable_irq();
  while (1)
  {
  }
}
